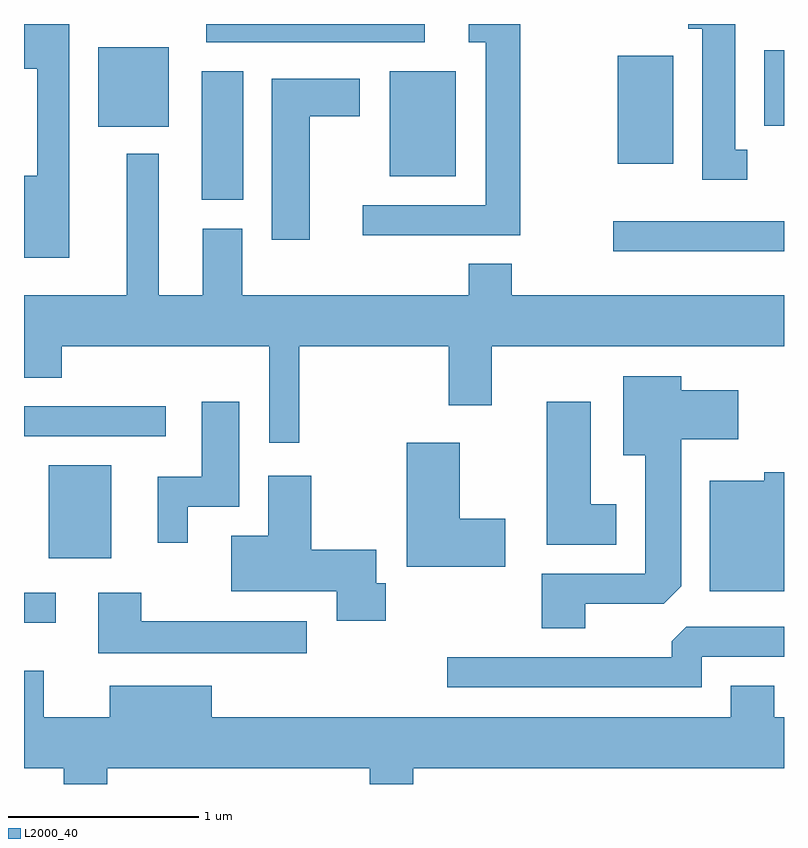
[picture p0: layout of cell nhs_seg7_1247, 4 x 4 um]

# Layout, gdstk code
import gdstk
lib = gdstk.Library(unit=1e-6, precision=1e-09)
def R(c, l, rs):  # rectangles x0, y0, x1, y1
    for r in rs: c.add(gdstk.rectangle(r[:2], r[2:], *l))
def P(c, l, *ps):  # polygons
    for p in ps: c.add(gdstk.Polygon(p, *l))
L2000_40 = (2000, 40)

nhs_seg7_1247 = lib.new_cell('nhs_seg7_1247')
R(nhs_seg7_1247, L2000_40, [(223.611,1695.101,223.778,1695.259), (223.741,1695.441,224.069,1695.929), (223.611,1696.081,224.358,1696.239), (226.713,1697.056,227.611,1697.214), (224.546,1697.326,224.764,1698.004), (225.536,1697.451,225.884,1698.004), (226.736,1697.516,227.029,1698.084), (224.001,1697.711,224.374,1698.129), (227.506,1697.716,227.611,1698.114), (224.571,1698.156,225.719,1698.252)])
P(nhs_seg7_1247, L2000_40, [(223.849,1698.252),(223.611,1698.252),(223.611,1698.016),(223.681,1698.016),(223.681,1697.454),(223.611,1697.454),(223.611,1697.021),(223.849,1697.021)],
  [(226.224,1698.252),(225.951,1698.252),(225.951,1698.156),(226.041,1698.156),(226.041,1697.299),(225.393,1697.299),(225.393,1697.141),(226.224,1697.141)],
  [(227.418,1697.589),(227.354,1697.589),(227.354,1698.252),(227.106,1698.252),(227.106,1698.226),(227.181,1698.226),(227.181,1697.431),(227.418,1697.431)],
  [(225.114,1697.766),(225.379,1697.766),(225.379,1697.964),(224.916,1697.964),(224.916,1697.116),(225.114,1697.116)],
  [(225.059,1696.556),(225.846,1696.556),(225.846,1696.246),(226.074,1696.246),(226.074,1696.556),(227.611,1696.556),(227.611,1696.824),(226.179,1696.824),(226.179,1696.989),(225.951,1696.989),(225.951,1696.824),(224.759,1696.824),(224.759,1697.174),(224.551,1697.174),(224.551,1696.824),(224.319,1696.824),(224.319,1697.568),(224.151,1697.568),(224.151,1696.824),(223.611,1696.824),(223.611,1696.391),(223.809,1696.391),(223.809,1696.556),(224.901,1696.556),(224.901,1696.048),(225.059,1696.048)],
  [(226.564,1695.201),(226.979,1695.201),(227.069,1695.292),(227.069,1696.066),(227.369,1696.066),(227.369,1696.324),(227.069,1696.324),(227.069,1696.399),(226.766,1696.399),(226.766,1695.981),(226.881,1695.981),(226.881,1695.359),(226.336,1695.359),(226.336,1695.071),(226.564,1695.071)],
  [(226.729,1695.724),(226.594,1695.724),(226.594,1696.264),(226.361,1696.264),(226.361,1695.511),(226.729,1695.511)],
  [(224.474,1695.711),(224.744,1695.711),(224.744,1696.264),(224.546,1696.264),(224.546,1695.869),(224.316,1695.869),(224.316,1695.523),(224.474,1695.523)],
  [(226.144,1695.649),(225.904,1695.649),(225.904,1696.049),(225.626,1696.049),(225.626,1695.396),(226.144,1695.396)],
  [(227.611,1695.894),(227.506,1695.894),(227.506,1695.849),(227.221,1695.849),(227.221,1695.266),(227.611,1695.266)],
  [(225.514,1695.309),(225.464,1695.309),(225.464,1695.484),(225.124,1695.484),(225.124,1695.874),(224.896,1695.874),(224.896,1695.559),(224.701,1695.559),(224.701,1695.266),(225.256,1695.266),(225.256,1695.111),(225.514,1695.111)],
  [(225.098,1695.109),(224.229,1695.109),(224.229,1695.259),(224.001,1695.259),(224.001,1694.941),(225.098,1694.941)],
  [(227.179,1694.921),(227.611,1694.921),(227.611,1695.079),(227.097,1695.079),(227.021,1695.004),(227.021,1694.919),(225.838,1694.919),(225.838,1694.761),(227.179,1694.761)],
  [(224.049,1694.336),(225.431,1694.336),(225.431,1694.252),(225.659,1694.252),(225.659,1694.336),(227.611,1694.336),(227.611,1694.604),(227.559,1694.604),(227.559,1694.769),(227.331,1694.769),(227.331,1694.604),(224.599,1694.604),(224.599,1694.769),(224.061,1694.769),(224.061,1694.604),(223.714,1694.604),(223.714,1694.848),(223.611,1694.848),(223.611,1694.336),(223.821,1694.336),(223.821,1694.252),(224.049,1694.252)])

lib.write_gds('nhs_seg7_1247.gds')
